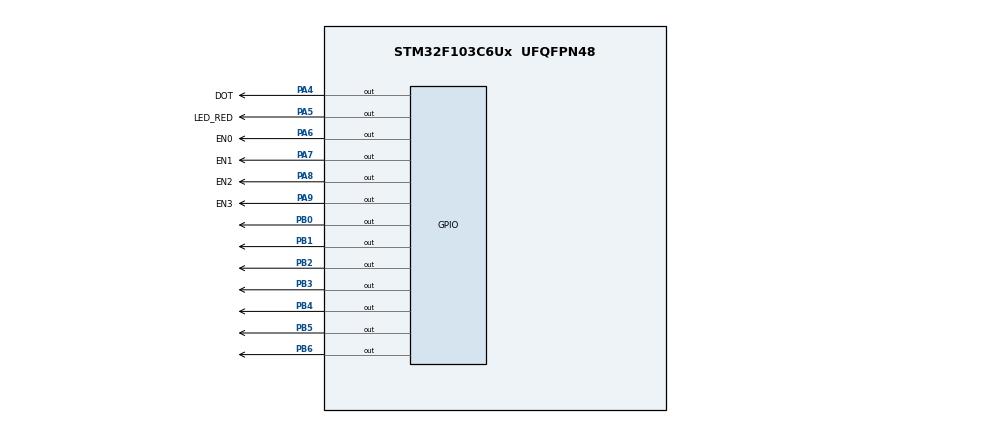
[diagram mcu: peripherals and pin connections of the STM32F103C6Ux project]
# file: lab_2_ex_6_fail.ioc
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Mcu.Family=STM32F1
Mcu.Name=STM32F103C6Ux
Mcu.Package=UFQFPN48
NVIC.PriorityGroup=NVIC_PRIORITYGROUP_4
NVIC.TIM2_IRQn=true\:0\:0\:false\:false\:true\:true\:true\:true
PA4.GPIO_Label=DOT
PA4.Signal=GPIO_Output
PA5.GPIO_Label=LED_RED
PA5.Signal=GPIO_Output
PA6.GPIO_Label=EN0
PA6.Signal=GPIO_Output
PA7.GPIO_Label=EN1
PA7.Signal=GPIO_Output
PA8.GPIO_Label=EN2
PA8.Signal=GPIO_Output
PA9.GPIO_Label=EN3
PA9.Signal=GPIO_Output
PB0.Signal=GPIO_Output
PB1.Signal=GPIO_Output
PB2.Signal=GPIO_Output
PB3.Signal=GPIO_Output
PB4.Signal=GPIO_Output
PB5.Signal=GPIO_Output
PB6.Signal=GPIO_Output
ProjectManager.HeapSize=0x200
ProjectManager.StackSize=0x400
ProjectManager.TargetToolchain=STM32CubeIDE
RCC.APB1Freq_Value=8000000
RCC.APB2Freq_Value=8000000
TIM2.Period=9
TIM2.Prescaler=7999
VP_TIM2_VS_ClockSourceINT.Mode=Internal
board=custom

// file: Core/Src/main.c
/* USER CODE BEGIN Header */
/**
  ******************************************************************************
  * @file           : main.c
  * @brief          : Main program body
  ******************************************************************************
  * @attention
  *
  * Copyright (c) 2022 STMicroelectronics.
  * All rights reserved.
  *
  * This software is licensed under terms that can be found in the LICENSE file
  * in the root directory of this software component.
  * If no LICENSE file comes with this software, it is provided AS-IS.
  *
  ******************************************************************************
  */
/* USER CODE END Header */
#include "main.h"

TIM_HandleTypeDef htim2;

void SystemClock_Config(void);
static void MX_GPIO_Init(void);
static void MX_TIM2_Init(void);
/* USER CODE BEGIN PFP */
void display7SEG(int num);
void update7SEG(int index);
void updateClockBuffer(int hour, int minute);
/* USER CODE END PFP */

/* USER CODE BEGIN 0 */
/* USER CODE BEGIN 0 */
const int MAX_LED = 4;
int index_led = 0;
int led_buffer[4] = {1, 2, 3, 4};

int timer0_counter = 0;       // Counter to track the countdown
int timer0_flag = 0;          // Flag that signals when timer has expired
int TIMER_CYCLE = 10;         // Timer cycle in ms (same as the interrupt period)

void setTimer0(int duration) {
    timer0_counter = duration / TIMER_CYCLE;  // Calculate countdown cycles
    timer0_flag = 0;                          // Reset the flag to 0
}

void timer_run() {
    if (timer0_counter > 0) {
        timer0_counter--;                     // Decrease the counter
        if (timer0_counter == 0) {
            timer0_flag = 1;                  // Set the flag when countdown completes
        }
    }
}
/* USER CODE END 0 */

/* USER CODE END 0 */

int main(void)
{

  /* MCU Configuration--------------------------------------------------------*/

  /* Reset of all peripherals, Initializes the Flash interface and the Systick. */
  HAL_Init();

  /* Configure the system clock */
  SystemClock_Config();

  /* Initialize all configured peripherals */
  MX_GPIO_Init();
  MX_TIM2_Init();
  /* USER CODE BEGIN 2 */
  HAL_TIM_Base_Start_IT(&htim2);
  /* USER CODE END 2 */

  /* Infinite loop */
  /* USER CODE BEGIN WHILE */
  int seven_segment_counter = 250;   // Update every 250ms for 4 segments in 1Hz cycle
  int LED_counter = 1000;            // Blink every 1000ms

  setTimer0(10);                     // Start the timer with 10ms cycle

  while (1) {
      if (timer0_flag == 1) {
          setTimer0(10);             // Reset the software timer for the next 10ms cycle

          // 7-segment display update logic
          seven_segment_counter -= TIMER_CYCLE;
          if (seven_segment_counter <= 0) {
              seven_segment_counter = 250;       // Reset counter for 1 Hz cycle across 4 segments

              if (index_led >= MAX_LED) index_led = 0;
              update7SEG(index_led++);           // Update the current segment and move to the next
          }

          // LED blink logic
          LED_counter -= TIMER_CYCLE;
          if (LED_counter <= 0) {
              LED_counter = 1000;                // Reset counter for LED blink
              HAL_GPIO_TogglePin(DOT_GPIO_Port, DOT_Pin);  // Toggle the DOT LED
          }
      }
  }

  /* USER CODE END 3 */
}

void SystemClock_Config(void)
{
  RCC_OscInitTypeDef RCC_OscInitStruct = {0};
  RCC_ClkInitTypeDef RCC_ClkInitStruct = {0};

  /** Initializes the RCC Oscillators according to the specified parameters
  * in the RCC_OscInitTypeDef structure.
  */
  RCC_OscInitStruct.OscillatorType = RCC_OSCILLATORTYPE_HSI;
  RCC_OscInitStruct.HSIState = RCC_HSI_ON;
  RCC_OscInitStruct.HSICalibrationValue = RCC_HSICALIBRATION_DEFAULT;
  RCC_OscInitStruct.PLL.PLLState = RCC_PLL_NONE;
  if (HAL_RCC_OscConfig(&RCC_OscInitStruct) != HAL_OK)
  {
    Error_Handler();
  }

  /** Initializes the CPU, AHB and APB buses clocks
  */
  RCC_ClkInitStruct.ClockType = RCC_CLOCKTYPE_HCLK|RCC_CLOCKTYPE_SYSCLK
                              |RCC_CLOCKTYPE_PCLK1|RCC_CLOCKTYPE_PCLK2;
  RCC_ClkInitStruct.SYSCLKSource = RCC_SYSCLKSOURCE_HSI;
  RCC_ClkInitStruct.AHBCLKDivider = RCC_SYSCLK_DIV1;
  RCC_ClkInitStruct.APB1CLKDivider = RCC_HCLK_DIV1;
  RCC_ClkInitStruct.APB2CLKDivider = RCC_HCLK_DIV1;

  if (HAL_RCC_ClockConfig(&RCC_ClkInitStruct, FLASH_LATENCY_0) != HAL_OK)
  {
    Error_Handler();
  }
}

static void MX_TIM2_Init(void)
{

  TIM_ClockConfigTypeDef sClockSourceConfig = {0};
  TIM_MasterConfigTypeDef sMasterConfig = {0};

  htim2.Instance = TIM2;
  htim2.Init.Prescaler = 7999;
  htim2.Init.CounterMode = TIM_COUNTERMODE_UP;
  htim2.Init.Period = 9;
  htim2.Init.ClockDivision = TIM_CLOCKDIVISION_DIV1;
  htim2.Init.AutoReloadPreload = TIM_AUTORELOAD_PRELOAD_DISABLE;
  if (HAL_TIM_Base_Init(&htim2) != HAL_OK)
  {
    Error_Handler();
  }
  sClockSourceConfig.ClockSource = TIM_CLOCKSOURCE_INTERNAL;
  if (HAL_TIM_ConfigClockSource(&htim2, &sClockSourceConfig) != HAL_OK)
  {
    Error_Handler();
  }
  sMasterConfig.MasterOutputTrigger = TIM_TRGO_RESET;
  sMasterConfig.MasterSlaveMode = TIM_MASTERSLAVEMODE_DISABLE;
  if (HAL_TIMEx_MasterConfigSynchronization(&htim2, &sMasterConfig) != HAL_OK)
  {
    Error_Handler();
  }

}

static void MX_GPIO_Init(void)
{
  GPIO_InitTypeDef GPIO_InitStruct = {0};

  /* GPIO Ports Clock Enable */
  __HAL_RCC_GPIOA_CLK_ENABLE();
  __HAL_RCC_GPIOB_CLK_ENABLE();

  /*Configure GPIO pin Output Level */
  HAL_GPIO_WritePin(GPIOA, DOT_Pin|LED_RED_Pin|EN0_Pin|EN1_Pin
                          |EN2_Pin|EN3_Pin, GPIO_PIN_RESET);

  /*Configure GPIO pin Output Level */
  HAL_GPIO_WritePin(GPIOB, GPIO_PIN_0|GPIO_PIN_1|GPIO_PIN_2|GPIO_PIN_3
                          |GPIO_PIN_4|GPIO_PIN_5|GPIO_PIN_6, GPIO_PIN_RESET);

  /*Configure GPIO pins : DOT_Pin LED_RED_Pin EN0_Pin EN1_Pin
                           EN2_Pin EN3_Pin */
  GPIO_InitStruct.Pin = DOT_Pin|LED_RED_Pin|EN0_Pin|EN1_Pin
                          |EN2_Pin|EN3_Pin;
  GPIO_InitStruct.Mode = GPIO_MODE_OUTPUT_PP;
  GPIO_InitStruct.Pull = GPIO_NOPULL;
  GPIO_InitStruct.Speed = GPIO_SPEED_FREQ_LOW;
  HAL_GPIO_Init(GPIOA, &GPIO_InitStruct);

  /*Configure GPIO pins : PB0 PB1 PB2 PB3
                           PB4 PB5 PB6 */
  GPIO_InitStruct.Pin = GPIO_PIN_0|GPIO_PIN_1|GPIO_PIN_2|GPIO_PIN_3
                          |GPIO_PIN_4|GPIO_PIN_5|GPIO_PIN_6;
  GPIO_InitStruct.Mode = GPIO_MODE_OUTPUT_PP;
  GPIO_InitStruct.Pull = GPIO_NOPULL;
  GPIO_InitStruct.Speed = GPIO_SPEED_FREQ_LOW;
  HAL_GPIO_Init(GPIOB, &GPIO_InitStruct);

}

/* USER CODE BEGIN 4 */

void HAL_TIM_PeriodElapsedCallback(TIM_HandleTypeDef *htim) {
    if (htim->Instance == TIM2) {  // Confirm the callback is for TIM2
        timer_run();               // Run software timer every interrupt
    }
}

void update7SEG(int index) {
    // Reset all enable pins first to turn off other displays
    HAL_GPIO_WritePin(EN0_GPIO_Port, EN0_Pin, GPIO_PIN_SET);
    HAL_GPIO_WritePin(EN1_GPIO_Port, EN1_Pin, GPIO_PIN_SET);
    HAL_GPIO_WritePin(EN2_GPIO_Port, EN2_Pin, GPIO_PIN_SET);
    HAL_GPIO_WritePin(EN3_GPIO_Port, EN3_Pin, GPIO_PIN_SET);

    // Select the correct display based on index and show the corresponding value
    switch (index) {
        case 0:
            HAL_GPIO_WritePin(EN0_GPIO_Port, EN0_Pin, GPIO_PIN_RESET);  // Enable first display
            display7SEG(led_buffer[0]);                                 // Display led_buffer[0]
            break;
        case 1:
            HAL_GPIO_WritePin(EN1_GPIO_Port, EN1_Pin, GPIO_PIN_RESET);  // Enable second display
            display7SEG(led_buffer[1]);                                 // Display led_buffer[1]
            break;
        case 2:
            HAL_GPIO_WritePin(EN2_GPIO_Port, EN2_Pin, GPIO_PIN_RESET);  // Enable third display
            display7SEG(led_buffer[2]);                                 // Display led_buffer[2]
            break;
        case 3:
            HAL_GPIO_WritePin(EN3_GPIO_Port, EN3_Pin, GPIO_PIN_RESET);  // Enable fourth display
            display7SEG(led_buffer[3]);                                 // Display led_buffer[3]
            break;
        default:
            break;
    }
}

void updateClockBuffer(int hour, int minute){
	led_buffer[0] = hour / 10;
	led_buffer[1] = hour % 10;
	led_buffer[2] = minute / 10;
	led_buffer[3] = minute % 10;
}

void display7SEG(int num)
{
	HAL_GPIO_WritePin(GPIOB, GPIO_PIN_All, SET);

	switch(num){
	case 0:
		HAL_GPIO_WritePin(GPIOB, GPIO_PIN_0, RESET);
		HAL_GPIO_WritePin(GPIOB, GPIO_PIN_1, RESET);
		HAL_GPIO_WritePin(GPIOB, GPIO_PIN_2, RESET);
		HAL_GPIO_WritePin(GPIOB, GPIO_PIN_3, RESET);
		HAL_GPIO_WritePin(GPIOB, GPIO_PIN_4, RESET);
		HAL_GPIO_WritePin(GPIOB, GPIO_PIN_5, RESET);
		break;
	case 1:
		HAL_GPIO_WritePin(GPIOB, GPIO_PIN_1, RESET);
		HAL_GPIO_WritePin(GPIOB, GPIO_PIN_2, RESET);
		break;
	case 2:
		HAL_GPIO_WritePin(GPIOB, GPIO_PIN_0, RESET);
		HAL_GPIO_WritePin(GPIOB, GPIO_PIN_1, RESET);
		HAL_GPIO_WritePin(GPIOB, GPIO_PIN_3, RESET);
		HAL_GPIO_WritePin(GPIOB, GPIO_PIN_4, RESET);
		HAL_GPIO_WritePin(GPIOB, GPIO_PIN_6, RESET);
		break;
	case 3:
		HAL_GPIO_WritePin(GPIOB, GPIO_PIN_0, RESET);
		HAL_GPIO_WritePin(GPIOB, GPIO_PIN_1, RESET);
		HAL_GPIO_WritePin(GPIOB, GPIO_PIN_2, RESET);
		HAL_GPIO_WritePin(GPIOB, GPIO_PIN_3, RESET);
		HAL_GPIO_WritePin(GPIOB, GPIO_PIN_6, RESET);
		break;
	case 4:
		HAL_GPIO_WritePin(GPIOB, GPIO_PIN_1, RESET);
		HAL_GPIO_WritePin(GPIOB, GPIO_PIN_2, RESET);
		HAL_GPIO_WritePin(GPIOB, GPIO_PIN_5, RESET);
		HAL_GPIO_WritePin(GPIOB, GPIO_PIN_6, RESET);
		break;
	case 5:
		HAL_GPIO_WritePin(GPIOB, GPIO_PIN_0, RESET);
		HAL_GPIO_WritePin(GPIOB, GPIO_PIN_2, RESET);
		HAL_GPIO_WritePin(GPIOB, GPIO_PIN_3, RESET);
		HAL_GPIO_WritePin(GPIOB, GPIO_PIN_5, RESET);
		HAL_GPIO_WritePin(GPIOB, GPIO_PIN_6, RESET);
		break;
	case 6:
		HAL_GPIO_WritePin(GPIOB, GPIO_PIN_0, RESET);
		HAL_GPIO_WritePin(GPIOB, GPIO_PIN_2, RESET);
		HAL_GPIO_WritePin(GPIOB, GPIO_PIN_3, RESET);
		HAL_GPIO_WritePin(GPIOB, GPIO_PIN_4, RESET);
		HAL_GPIO_WritePin(GPIOB, GPIO_PIN_5, RESET);
		HAL_GPIO_WritePin(GPIOB, GPIO_PIN_6, RESET);
		break;
	case 7:
		HAL_GPIO_WritePin(GPIOB, GPIO_PIN_0, RESET);
		HAL_GPIO_WritePin(GPIOB, GPIO_PIN_1, RESET);
		HAL_GPIO_WritePin(GPIOB, GPIO_PIN_2, RESET);
		break;
	case 8:
		HAL_GPIO_WritePin(GPIOB, GPIO_PIN_0, RESET);
		HAL_GPIO_WritePin(GPIOB, GPIO_PIN_1, RESET);
		HAL_GPIO_WritePin(GPIOB, GPIO_PIN_2, RESET);
		HAL_GPIO_WritePin(GPIOB, GPIO_PIN_3, RESET);
		HAL_GPIO_WritePin(GPIOB, GPIO_PIN_4, RESET);
		HAL_GPIO_WritePin(GPIOB, GPIO_PIN_5, RESET);
		HAL_GPIO_WritePin(GPIOB, GPIO_PIN_6, RESET);
		break;
	case 9:
		HAL_GPIO_WritePin(GPIOB, GPIO_PIN_0, RESET);
		HAL_GPIO_WritePin(GPIOB, GPIO_PIN_1, RESET);
		HAL_GPIO_WritePin(GPIOB, GPIO_PIN_2, RESET);
		HAL_GPIO_WritePin(GPIOB, GPIO_PIN_3, RESET);
		HAL_GPIO_WritePin(GPIOB, GPIO_PIN_5, RESET);
		HAL_GPIO_WritePin(GPIOB, GPIO_PIN_6, RESET);
		break;
	}
}

/* USER CODE END 4 */

void Error_Handler(void)
{
  __disable_irq();
  while (1)
  {
  }
}
